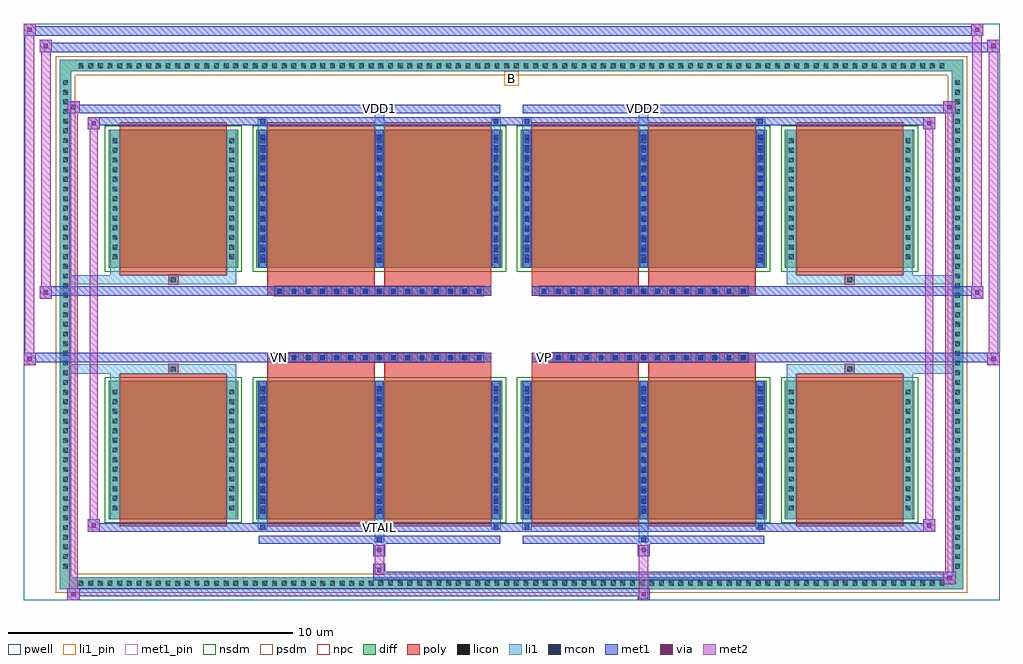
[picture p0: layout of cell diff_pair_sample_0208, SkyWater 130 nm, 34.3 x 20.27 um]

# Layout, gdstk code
import gdstk
lib = gdstk.Library(unit=1e-6, precision=5e-09)
def R(c, l, rs):  # rectangles x0, y0, x1, y1
    for r in rs: c.add(gdstk.rectangle(r[:2], r[2:], *l))
def A(c, l, x, y, w, h, nx, ny, dx, dy):  # array of equal rectangles
    R(c, l, [(x+i*dx, y+j*dy, x+i*dx+w, y+j*dy+h) for i in range(nx) for j in range(ny)])
def P(c, l, *ps):  # polygons
    for p in ps: c.add(gdstk.Polygon(p, *l))
pwell = (64, 44)
diff = (65, 20)
poly = (66, 20)
licon = (66, 44)
li1_pin = (67, 16)
li1 = (67, 20)
mcon = (67, 44)
met1_pin = (68, 16)
met1 = (68, 20)
via = (68, 44)
met2 = (69, 20)
nsdm = (93, 44)
psdm = (94, 20)
npc = (95, 20)

diff_pair_sample_0208 = lib.new_cell('diff_pair_sample_0208')
R(diff_pair_sample_0208, pwell, [(-17.15,-9.7,17.15,10.57), (-14.47,-7.89,-0.01,-0.805), (0.01,-7.89,14.47,-0.805), (-14.47,0.805,-0.01,7.89), (0.01,0.805,14.47,7.89)])
A(diff_pair_sample_0208, diff, -15.335, -9.3, 0.41, 0.41, 90, 2, 0.34, 18.19)
A(diff_pair_sample_0208, diff, -15.88, -8.705, 0.41, 0.41, 1, 51, 0, 0.34)
A(diff_pair_sample_0208, diff, 15.47, -8.705, 0.41, 0.41, 1, 51, 0, 0.34)
R(diff_pair_sample_0208, diff, [(-15.335,-9.3,15.335,-8.89), (-15.88,-8.705,-15.47,8.705), (15.47,-8.705,15.88,8.705), (-14.16,-6.845,-9.61,-1.985), (-8.97,-6.845,-0.32,-1.985), (0.32,-6.845,8.97,-1.985), (9.61,-6.845,14.16,-1.985), (-14.16,1.985,-9.61,6.845), (-8.97,1.985,-0.32,6.845), (0.32,1.985,8.97,6.845), (9.61,1.985,14.16,6.845), (-15.335,8.89,15.335,9.3)])
P(diff_pair_sample_0208, diff, [(15.88,9.3),(-15.88,9.3),(-15.88,-8.89),(-15.47,-8.89),(-15.47,8.89),(15.47,8.89),(15.47,-8.89),(-15.47,-8.89),(-15.88,-8.89),(-15.88,-9.3),(15.88,-9.3)])
A(diff_pair_sample_0208, poly, -8.31, -1.335, 0.33, 0.33, 15, 2, 0.5, 2.34)
A(diff_pair_sample_0208, poly, 0.98, -1.335, 0.33, 0.33, 15, 2, 0.5, 2.34)
R(diff_pair_sample_0208, poly, [(-13.77,-7.095,-10,-1.735), (-8.58,-7.095,-4.81,-1.735), (-4.48,-7.095,-0.71,-1.735), (0.71,-7.095,4.48,-1.735), (4.81,-7.095,8.58,-1.735), (10,-7.095,13.77,-1.735), (-12.05,-1.735,-11.72,-1.405), (-12.05,-1.735,-11.72,-1.405), (-8.58,-1.735,-4.81,-1.335), (-4.48,-1.735,-0.71,-1.335), (0.71,-1.735,4.48,-1.335), (4.81,-1.735,8.58,-1.335), (11.72,-1.735,12.05,-1.405), (11.72,-1.735,12.05,-1.405), (-8.58,-1.335,-0.71,-1.005), (0.71,-1.335,8.58,-1.005), (-8.58,1.005,-0.71,1.335), (0.71,1.005,8.58,1.335), (-8.58,1.335,-4.81,1.735), (-4.48,1.335,-0.71,1.735), (0.71,1.335,4.48,1.735), (4.81,1.335,8.58,1.735), (-12.05,1.405,-11.72,1.735), (-12.05,1.405,-11.72,1.735), (11.72,1.405,12.05,1.735), (11.72,1.405,12.05,1.735), (-13.77,1.735,-10,7.095), (-8.58,1.735,-4.81,7.095), (-4.48,1.735,-0.71,7.095), (0.71,1.735,4.48,7.095), (4.81,1.735,8.58,7.095), (10,1.735,13.77,7.095)])
A(diff_pair_sample_0208, licon, -15.215, -9.18, 0.17, 0.17, 90, 2, 0.34, 18.19)
A(diff_pair_sample_0208, licon, -15.76, -8.585, 0.17, 0.17, 1, 51, 0, 0.34)
A(diff_pair_sample_0208, licon, 15.59, -8.585, 0.17, 0.17, 1, 51, 0, 0.34)
A(diff_pair_sample_0208, licon, -14.02, -6.54, 0.17, 0.17, 1, 13, 0, 0.34)
A(diff_pair_sample_0208, licon, -9.92, -6.54, 0.17, 0.17, 1, 13, 0, 0.34)
A(diff_pair_sample_0208, licon, -8.83, -6.54, 0.17, 0.17, 3, 13, 4.1, 0.34)
A(diff_pair_sample_0208, licon, 0.46, -6.54, 0.17, 0.17, 3, 13, 4.1, 0.34)
A(diff_pair_sample_0208, licon, 9.75, -6.54, 0.17, 0.17, 1, 13, 0, 0.34)
A(diff_pair_sample_0208, licon, 13.85, -6.54, 0.17, 0.17, 1, 13, 0, 0.34)
A(diff_pair_sample_0208, licon, -8.23, -1.255, 0.17, 0.17, 15, 2, 0.5, 2.34)
A(diff_pair_sample_0208, licon, 1.06, -1.255, 0.17, 0.17, 15, 2, 0.5, 2.34)
A(diff_pair_sample_0208, licon, -14.02, 2.29, 0.17, 0.17, 1, 13, 0, 0.34)
A(diff_pair_sample_0208, licon, -9.92, 2.29, 0.17, 0.17, 1, 13, 0, 0.34)
A(diff_pair_sample_0208, licon, -8.83, 2.29, 0.17, 0.17, 3, 13, 4.1, 0.34)
A(diff_pair_sample_0208, licon, 0.46, 2.29, 0.17, 0.17, 3, 13, 4.1, 0.34)
A(diff_pair_sample_0208, licon, 9.75, 2.29, 0.17, 0.17, 1, 13, 0, 0.34)
A(diff_pair_sample_0208, licon, 13.85, 2.29, 0.17, 0.17, 1, 13, 0, 0.34)
R(diff_pair_sample_0208, licon, [(-11.97,-1.655,-11.8,-1.485), (11.8,-1.655,11.97,-1.485), (-11.97,1.485,-11.8,1.655), (11.8,1.485,11.97,1.655)])
R(diff_pair_sample_0208, li1_pin, [(-0.25,8.39,0.25,8.89)])
A(diff_pair_sample_0208, li1, -15.295, -9.26, 0.33, 0.33, 90, 2, 0.34, 18.19)
A(diff_pair_sample_0208, li1, -15.84, -8.665, 0.33, 0.33, 1, 51, 0, 0.34)
A(diff_pair_sample_0208, li1, 15.51, -8.665, 0.33, 0.33, 1, 51, 0, 0.34)
A(diff_pair_sample_0208, li1, -8.91, -6.845, 0.33, 4.86, 3, 2, 4.1, 8.83)
A(diff_pair_sample_0208, li1, 0.38, -6.845, 0.33, 4.86, 3, 2, 4.1, 8.83)
A(diff_pair_sample_0208, li1, -8.83, -6.66, 0.17, 0.17, 3, 13, 4.1, 0.36)
A(diff_pair_sample_0208, li1, -8.83, -6.66, 0.17, 4.49, 3, 2, 4.1, 8.83)
A(diff_pair_sample_0208, li1, 0.46, -6.66, 0.17, 0.17, 3, 13, 4.1, 0.36)
A(diff_pair_sample_0208, li1, 0.46, -6.66, 0.17, 4.49, 3, 2, 4.1, 8.83)
A(diff_pair_sample_0208, li1, -14.1, -6.62, 0.33, 0.33, 1, 13, 0, 0.34)
A(diff_pair_sample_0208, li1, -10, -6.62, 0.33, 0.33, 1, 13, 0, 0.34)
A(diff_pair_sample_0208, li1, -8.91, -6.62, 0.33, 0.33, 3, 13, 4.1, 0.34)
A(diff_pair_sample_0208, li1, 0.38, -6.62, 0.33, 0.33, 3, 13, 4.1, 0.34)
A(diff_pair_sample_0208, li1, 9.67, -6.62, 0.33, 0.33, 1, 13, 0, 0.34)
A(diff_pair_sample_0208, li1, 13.77, -6.62, 0.33, 0.33, 1, 13, 0, 0.34)
A(diff_pair_sample_0208, li1, -8.31, -1.335, 0.33, 0.33, 15, 2, 0.5, 2.34)
A(diff_pair_sample_0208, li1, 0.98, -1.335, 0.33, 0.33, 15, 2, 0.5, 2.34)
A(diff_pair_sample_0208, li1, -8.83, 2.17, 0.17, 0.17, 3, 13, 4.1, 0.36)
A(diff_pair_sample_0208, li1, 0.46, 2.17, 0.17, 0.17, 3, 13, 4.1, 0.36)
A(diff_pair_sample_0208, li1, -14.1, 2.21, 0.33, 0.33, 1, 13, 0, 0.34)
A(diff_pair_sample_0208, li1, -10, 2.21, 0.33, 0.33, 1, 13, 0, 0.34)
A(diff_pair_sample_0208, li1, -8.91, 2.21, 0.33, 0.33, 3, 13, 4.1, 0.34)
A(diff_pair_sample_0208, li1, 0.38, 2.21, 0.33, 0.33, 3, 13, 4.1, 0.34)
A(diff_pair_sample_0208, li1, 9.67, 2.21, 0.33, 0.33, 1, 13, 0, 0.34)
A(diff_pair_sample_0208, li1, 13.77, 2.21, 0.33, 0.33, 1, 13, 0, 0.34)
R(diff_pair_sample_0208, li1, [(-15.88,-9.3,-15.47,-8.89), (-15.88,-9.3,-15.47,-8.89), (-15.47,-9.3,15.47,-8.89), (15.47,-9.3,15.88,-8.89), (15.47,-9.3,15.88,-8.89), (-15.88,-8.89,-15.47,8.89), (15.47,-8.89,15.88,8.89), (-4.81,-7.65,-4.48,-6.845), (-4.73,-7.65,-4.56,-7.48), (4.48,-7.65,4.81,-6.845), (4.56,-7.65,4.73,-7.48), (-8.91,-7.22,-8.58,-6.845), (-8.83,-7.22,-8.66,-7.05), (-0.71,-7.22,-0.38,-6.845), (-0.63,-7.22,-0.46,-7.05), (0.38,-7.22,0.71,-6.845), (0.46,-7.22,0.63,-7.05), (8.58,-7.22,8.91,-6.845), (8.66,-7.22,8.83,-7.05), (-14.1,-6.845,-13.77,-1.985), (-10,-6.845,-9.67,-1.985), (9.67,-6.845,10,-1.985), (13.77,-6.845,14.1,-1.985), (-14.1,-1.985,-13.77,-1.405), (-10,-1.985,-9.67,-1.405), (9.67,-1.985,10,-1.405), (13.77,-1.985,14.1,-1.405), (-15.88,-1.735,-12.05,-1.405), (-14.1,-1.735,-12.05,-1.405), (-12.05,-1.735,-11.72,-1.405), (-11.72,-1.735,-9.67,-1.405), (9.67,-1.735,11.72,-1.405), (11.72,-1.735,12.05,-1.405), (11.72,-1.735,15.88,-1.405), (12.05,-1.735,14.1,-1.405), (-15.88,1.405,-12.05,1.735), (-14.1,1.405,-12.05,1.735), (-14.1,1.405,-13.77,1.985), (-12.05,1.405,-11.72,1.735), (-11.72,1.405,-9.67,1.735), (-10,1.405,-9.67,1.985), (9.67,1.405,11.72,1.735), (9.67,1.405,10,1.985), (11.72,1.405,12.05,1.735), (11.72,1.405,15.88,1.735), (12.05,1.405,14.1,1.735), (13.77,1.405,14.1,1.985), (-14.1,1.985,-13.77,6.845), (-10,1.985,-9.67,6.845), (9.67,1.985,10,6.845), (13.77,1.985,14.1,6.845), (-8.91,6.845,-8.58,7.22), (-4.81,6.845,-4.48,7.65), (-0.71,6.845,-0.38,7.22), (0.38,6.845,0.71,7.22), (4.48,6.845,4.81,7.65), (8.58,6.845,8.91,7.22), (-8.83,7.05,-8.66,7.22), (-0.63,7.05,-0.46,7.22), (0.46,7.05,0.63,7.22), (8.66,7.05,8.83,7.22), (-4.73,7.48,-4.56,7.65), (4.56,7.48,4.73,7.65), (-15.88,8.89,-15.47,9.3), (-15.88,8.89,-15.47,9.3), (-15.47,8.89,15.47,9.3), (15.47,8.89,15.88,9.3), (15.47,8.89,15.88,9.3)])
A(diff_pair_sample_0208, mcon, -8.83, -6.66, 0.17, 0.17, 3, 13, 4.1, 0.36)
A(diff_pair_sample_0208, mcon, 0.46, -6.66, 0.17, 0.17, 3, 13, 4.1, 0.36)
A(diff_pair_sample_0208, mcon, -8.23, -1.255, 0.17, 0.17, 15, 2, 0.5, 2.34)
A(diff_pair_sample_0208, mcon, 1.06, -1.255, 0.17, 0.17, 15, 2, 0.5, 2.34)
A(diff_pair_sample_0208, mcon, -8.83, 2.17, 0.17, 0.17, 3, 13, 4.1, 0.36)
A(diff_pair_sample_0208, mcon, 0.46, 2.17, 0.17, 0.17, 3, 13, 4.1, 0.36)
R(diff_pair_sample_0208, mcon, [(-4.73,-7.65,-4.56,-7.48), (4.56,-7.65,4.73,-7.48), (-8.83,-7.22,-8.66,-7.05), (-0.63,-7.22,-0.46,-7.05), (0.46,-7.22,0.63,-7.05), (8.66,-7.22,8.83,-7.05), (-8.83,7.05,-8.66,7.22), (-0.63,7.05,-0.46,7.22), (0.46,7.05,0.63,7.22), (8.66,7.05,8.83,7.22), (-4.73,7.48,-4.56,7.65), (4.56,7.48,4.73,7.65)])
R(diff_pair_sample_0208, met1_pin, [(-4.78,-7.26,-4.51,-6.99), (-8.28,-1.295,-8.01,-1.025), (1.01,-1.295,1.28,-1.025), (-4.78,7.44,-4.51,7.71), (4.51,7.44,4.78,7.71)])
A(diff_pair_sample_0208, met1, -8.89, -6.845, 0.29, 4.86, 3, 2, 4.1, 8.83)
A(diff_pair_sample_0208, met1, 0.4, -6.845, 0.29, 4.86, 3, 2, 4.1, 8.83)
A(diff_pair_sample_0208, met1, -8.89, -6.72, 0.29, 0.29, 3, 13, 4.1, 0.36)
A(diff_pair_sample_0208, met1, 0.4, -6.72, 0.29, 0.29, 3, 13, 4.1, 0.36)
A(diff_pair_sample_0208, met1, -8.29, -1.315, 0.29, 0.29, 15, 2, 0.5, 2.34)
A(diff_pair_sample_0208, met1, 1, -1.315, 0.29, 0.29, 15, 2, 0.5, 2.34)
A(diff_pair_sample_0208, met1, -8.89, 2.11, 0.29, 0.29, 3, 13, 4.1, 0.36)
A(diff_pair_sample_0208, met1, 0.4, 2.11, 0.29, 0.29, 3, 13, 4.1, 0.36)
R(diff_pair_sample_0208, met1, [(-15.61,-9.7,-15.18,-9.27), (4.43,-9.7,4.86,-9.27), (-15.61,-9.56,4.86,-9.27), (15.18,-9.13,15.61,-8.7), (-4.86,-8.99,15.61,-8.7), (-4.86,-8.85,-4.43,-8.42), (-4.86,-8.14,-4.43,-7.71), (4.43,-8.14,4.86,-7.71), (-8.89,-7.71,-0.4,-7.42), (-4.79,-7.71,-4.5,-7.42), (0.4,-7.71,8.89,-7.42), (4.5,-7.71,4.79,-7.42), (-14.9,-7.28,-14.47,-6.85), (-14.9,-7.28,-8.89,-6.99), (-8.89,-7.28,-8.6,-6.99), (-8.89,-7.28,-0.4,-6.99), (-0.69,-7.28,-0.4,-6.99), (-0.4,-7.28,0.4,-6.99), (0.4,-7.28,0.69,-6.99), (0.4,-7.28,8.89,-6.99), (8.6,-7.28,8.89,-6.99), (8.89,-7.28,14.9,-6.99), (14.47,-7.28,14.9,-6.85), (-17.15,-1.435,-16.72,-1.005), (16.72,-1.435,17.15,-1.005), (-17.15,-1.335,-0.71,-1.005), (-8.58,-1.335,-0.71,-1.005), (0.71,-1.335,8.58,-1.005), (0.71,-1.335,17.15,-1.005), (-16.58,0.905,-16.15,1.335), (16.15,0.905,16.58,1.335), (-16.58,1.005,-8.58,1.335), (-8.58,1.005,-0.71,1.335), (0.71,1.005,8.58,1.335), (8.58,1.005,16.58,1.335), (-14.9,6.85,-14.47,7.28), (14.47,6.85,14.9,7.28), (-14.9,6.99,-8.89,7.28), (-8.89,6.99,-8.6,7.28), (-8.89,6.99,-0.4,7.28), (-0.69,6.99,-0.4,7.28), (-0.4,6.99,0.4,7.28), (0.4,6.99,0.69,7.28), (0.4,6.99,8.89,7.28), (8.6,6.99,8.89,7.28), (8.89,6.99,14.9,7.28), (-15.61,7.42,-15.18,7.85), (-15.61,7.42,-8.89,7.71), (-8.89,7.42,-0.4,7.71), (-4.79,7.42,-4.5,7.71), (0.4,7.42,8.89,7.71), (4.5,7.42,4.79,7.71), (8.89,7.42,15.61,7.71), (15.18,7.42,15.61,7.85), (-16.58,9.57,-16.15,10), (-16.58,9.57,-14.47,9.9), (-14.47,9.57,14.47,9.9), (14.47,9.57,17.15,9.9), (16.72,9.57,17.15,10), (-17.15,10.14,-16.72,10.57), (-17.15,10.14,-14.47,10.47), (-14.47,10.14,14.47,10.47), (14.47,10.14,16.58,10.47), (16.15,10.14,16.58,10.57)])
R(diff_pair_sample_0208, via, [(-15.47,-9.56,-15.32,-9.41), (4.57,-9.56,4.72,-9.41), (15.32,-8.99,15.47,-8.84), (-4.72,-8.71,-4.57,-8.56), (-4.72,-8,-4.57,-7.85), (4.57,-8,4.72,-7.85), (-14.76,-7.14,-14.61,-6.99), (14.61,-7.14,14.76,-6.99), (-17.01,-1.295,-16.86,-1.145), (16.86,-1.295,17.01,-1.145), (-16.44,1.045,-16.29,1.195), (16.29,1.045,16.44,1.195), (-14.76,6.99,-14.61,7.14), (14.61,6.99,14.76,7.14), (-15.47,7.56,-15.32,7.71), (15.32,7.56,15.47,7.71), (-16.44,9.71,-16.29,9.86), (16.86,9.71,17.01,9.86), (-17.01,10.28,-16.86,10.43), (16.29,10.28,16.44,10.43)])
R(diff_pair_sample_0208, met2, [(-15.61,-9.7,-15.18,-9.27), (-15.54,-9.7,-15.25,7.85), (-15.25,-9.7,-15.18,-9.27), (-15.56,-9.65,-15.23,-9.32), (4.48,-9.65,4.81,-9.32), (4.48,-9.32,4.81,-8.09), (15.18,-9.13,15.61,-8.7), (15.25,-9.13,15.54,7.85), (15.54,-9.13,15.61,-8.7), (15.23,-9.08,15.56,-8.75), (-4.81,-8.8,-4.48,-8.47), (-4.81,-8.47,-4.48,-8.09), (-4.81,-8.09,-4.48,-7.76), (4.48,-8.09,4.81,-7.76), (-14.9,-7.28,-14.47,-6.85), (-14.83,-7.28,-14.54,7.28), (-14.54,-7.28,-14.47,-6.85), (14.47,-7.28,14.9,-6.85), (14.54,-7.28,14.83,7.28), (14.83,-7.28,14.9,-6.85), (-14.85,-7.23,-14.52,-6.9), (14.52,-7.23,14.85,-6.9), (-17.15,-1.435,-16.72,-1.005), (-17.1,-1.435,-16.77,10.57), (-16.77,-1.435,-16.72,-1.005), (16.72,-1.435,17.15,-1.005), (16.77,-1.435,17.1,10), (17.1,-1.435,17.15,-1.005), (-17.1,-1.385,-16.77,-1.055), (16.77,-1.385,17.1,-1.055), (-16.58,0.905,-16.15,1.335), (-16.53,0.905,-16.2,10), (-16.2,0.905,-16.15,1.335), (16.15,0.905,16.58,1.335), (16.2,0.905,16.53,10.57), (16.53,0.905,16.58,1.335), (-16.53,0.955,-16.2,1.285), (16.2,0.955,16.53,1.285), (-14.9,6.85,-14.47,7.28), (-14.54,6.85,-14.47,7.28), (14.47,6.85,14.9,7.28), (14.83,6.85,14.9,7.28), (-14.85,6.9,-14.52,7.23), (14.52,6.9,14.85,7.23), (-15.61,7.42,-15.18,7.85), (-15.25,7.42,-15.18,7.85), (15.18,7.42,15.61,7.85), (15.54,7.42,15.61,7.85), (-15.56,7.47,-15.23,7.8), (15.23,7.47,15.56,7.8), (-16.58,9.57,-16.15,10), (-16.2,9.57,-16.15,10), (16.72,9.57,17.15,10), (17.1,9.57,17.15,10), (-16.53,9.62,-16.2,9.95), (16.77,9.62,17.1,9.95), (-17.15,10.14,-16.72,10.57), (-16.77,10.14,-16.72,10.57), (16.15,10.14,16.58,10.57), (16.53,10.14,16.58,10.57), (-17.1,10.19,-16.77,10.52), (16.2,10.19,16.53,10.52)])
R(diff_pair_sample_0208, nsdm, [(-14.29,-6.975,-9.48,-1.855), (-9.1,-6.975,-0.19,-1.855), (0.19,-6.975,9.1,-1.855), (9.48,-6.975,14.29,-1.855), (-14.29,1.855,-9.48,6.975), (-9.1,1.855,-0.19,6.975), (0.19,1.855,9.1,6.975), (9.48,1.855,14.29,6.975)])
P(diff_pair_sample_0208, psdm, [(16.01,9.43),(-16.01,9.43),(-16.01,-8.76),(-15.34,-8.76),(-15.34,8.76),(15.34,8.76),(15.34,-8.76),(-15.34,-8.76),(-16.01,-8.76),(-16.01,-9.43),(16.01,-9.43)])
A(diff_pair_sample_0208, npc, -8.33, -1.355, 0.37, 0.37, 15, 2, 0.5, 2.34)
A(diff_pair_sample_0208, npc, 0.96, -1.355, 0.37, 0.37, 15, 2, 0.5, 2.34)
R(diff_pair_sample_0208, npc, [(-12.07,-1.755,-11.7,-1.385), (11.7,-1.755,12.07,-1.385), (-8.33,-1.355,-7.46,-0.985), (-8.33,-1.355,-7.46,-0.985), (-7.83,-1.355,-6.96,-0.985), (-7.83,-1.355,-6.96,-0.985), (-7.33,-1.355,-6.46,-0.985), (-7.33,-1.355,-6.46,-0.985), (-6.83,-1.355,-5.96,-0.985), (-6.83,-1.355,-5.96,-0.985), (-6.33,-1.355,-5.46,-0.985), (-6.33,-1.355,-5.46,-0.985), (-5.83,-1.355,-4.96,-0.985), (-5.83,-1.355,-4.96,-0.985), (-5.33,-1.355,-4.46,-0.985), (-5.33,-1.355,-4.46,-0.985), (-4.83,-1.355,-3.96,-0.985), (-4.83,-1.355,-3.96,-0.985), (-4.33,-1.355,-3.46,-0.985), (-4.33,-1.355,-3.46,-0.985), (-3.83,-1.355,-2.96,-0.985), (-3.83,-1.355,-2.96,-0.985), (-3.33,-1.355,-2.46,-0.985), (-3.33,-1.355,-2.46,-0.985), (-2.83,-1.355,-1.96,-0.985), (-2.83,-1.355,-1.96,-0.985), (-2.33,-1.355,-1.46,-0.985), (-2.33,-1.355,-1.46,-0.985), (-1.83,-1.355,-0.96,-0.985), (-1.83,-1.355,-0.96,-0.985), (0.96,-1.355,1.83,-0.985), (0.96,-1.355,1.83,-0.985), (1.46,-1.355,2.33,-0.985), (1.46,-1.355,2.33,-0.985), (1.96,-1.355,2.83,-0.985), (1.96,-1.355,2.83,-0.985), (2.46,-1.355,3.33,-0.985), (2.46,-1.355,3.33,-0.985), (2.96,-1.355,3.83,-0.985), (2.96,-1.355,3.83,-0.985), (3.46,-1.355,4.33,-0.985), (3.46,-1.355,4.33,-0.985), (3.96,-1.355,4.83,-0.985), (3.96,-1.355,4.83,-0.985), (4.46,-1.355,5.33,-0.985), (4.46,-1.355,5.33,-0.985), (4.96,-1.355,5.83,-0.985), (4.96,-1.355,5.83,-0.985), (5.46,-1.355,6.33,-0.985), (5.46,-1.355,6.33,-0.985), (5.96,-1.355,6.83,-0.985), (5.96,-1.355,6.83,-0.985), (6.46,-1.355,7.33,-0.985), (6.46,-1.355,7.33,-0.985), (6.96,-1.355,7.83,-0.985), (6.96,-1.355,7.83,-0.985), (7.46,-1.355,8.33,-0.985), (7.46,-1.355,8.33,-0.985), (-8.33,0.985,-7.46,1.355), (-8.33,0.985,-7.46,1.355), (-7.83,0.985,-6.96,1.355), (-7.83,0.985,-6.96,1.355), (-7.33,0.985,-6.46,1.355), (-7.33,0.985,-6.46,1.355), (-6.83,0.985,-5.96,1.355), (-6.83,0.985,-5.96,1.355), (-6.33,0.985,-5.46,1.355), (-6.33,0.985,-5.46,1.355), (-5.83,0.985,-4.96,1.355), (-5.83,0.985,-4.96,1.355), (-5.33,0.985,-4.46,1.355), (-5.33,0.985,-4.46,1.355), (-4.83,0.985,-3.96,1.355), (-4.83,0.985,-3.96,1.355), (-4.33,0.985,-3.46,1.355), (-4.33,0.985,-3.46,1.355), (-3.83,0.985,-2.96,1.355), (-3.83,0.985,-2.96,1.355), (-3.33,0.985,-2.46,1.355), (-3.33,0.985,-2.46,1.355), (-2.83,0.985,-1.96,1.355), (-2.83,0.985,-1.96,1.355), (-2.33,0.985,-1.46,1.355), (-2.33,0.985,-1.46,1.355), (-1.83,0.985,-0.96,1.355), (-1.83,0.985,-0.96,1.355), (0.96,0.985,1.83,1.355), (0.96,0.985,1.83,1.355), (1.46,0.985,2.33,1.355), (1.46,0.985,2.33,1.355), (1.96,0.985,2.83,1.355), (1.96,0.985,2.83,1.355), (2.46,0.985,3.33,1.355), (2.46,0.985,3.33,1.355), (2.96,0.985,3.83,1.355), (2.96,0.985,3.83,1.355), (3.46,0.985,4.33,1.355), (3.46,0.985,4.33,1.355), (3.96,0.985,4.83,1.355), (3.96,0.985,4.83,1.355), (4.46,0.985,5.33,1.355), (4.46,0.985,5.33,1.355), (4.96,0.985,5.83,1.355), (4.96,0.985,5.83,1.355), (5.46,0.985,6.33,1.355), (5.46,0.985,6.33,1.355), (5.96,0.985,6.83,1.355), (5.96,0.985,6.83,1.355), (6.46,0.985,7.33,1.355), (6.46,0.985,7.33,1.355), (6.96,0.985,7.83,1.355), (6.96,0.985,7.83,1.355), (7.46,0.985,8.33,1.355), (7.46,0.985,8.33,1.355), (-12.07,1.385,-11.7,1.755), (11.7,1.385,12.07,1.755)])
diff_pair_sample_0208.add(gdstk.Label('VTAIL', (-4.645,-7.125), layer=68, texttype=5))
diff_pair_sample_0208.add(gdstk.Label('VN', (-8.145,-1.16), layer=68, texttype=5))
diff_pair_sample_0208.add(gdstk.Label('VP', (1.145,-1.16), layer=68, texttype=5))
diff_pair_sample_0208.add(gdstk.Label('B', (0,8.64), layer=67, texttype=5))
diff_pair_sample_0208.add(gdstk.Label('VDD2', (4.645,7.575), layer=68, texttype=5))
diff_pair_sample_0208.add(gdstk.Label('VDD1', (-4.645,7.575), layer=68, texttype=5))

lib.write_gds('diff_pair_sample_0208.gds')
